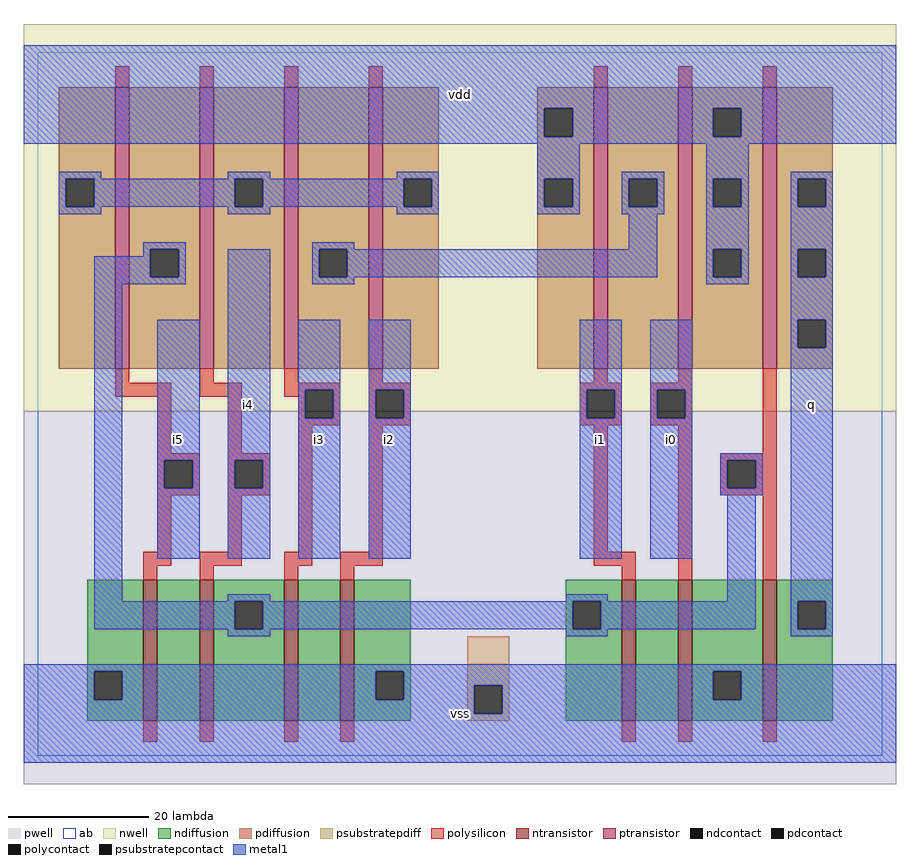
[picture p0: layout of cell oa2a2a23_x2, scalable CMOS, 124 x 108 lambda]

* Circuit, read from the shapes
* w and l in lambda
.subckt oa2a2a23_x2 i0 i1 i2 i3 i4 i5 q vdd vss
M1 n1 i5 vss vss nfet w=20 l=2
M2 n2 i4 n1 vss nfet w=20 l=2
M3 n3 i3 n2 vss nfet w=20 l=2
M4 vss i2 n3 vss nfet w=20 l=2
M5 n4 i1 n2 vss nfet w=20 l=2
M6 vss i0 n4 vss nfet w=20 l=2
M7 q n2 vss vss nfet w=20 l=2
M8 n2 i5 n5 n6 pfet w=40 l=2
M9 n5 i4 n2 n6 pfet w=40 l=2
M10 n7 i3 n5 n6 pfet w=40 l=2
M11 n5 i2 n7 n6 pfet w=40 l=2
M12 n7 i1 vdd n6 pfet w=40 l=2
M13 vdd i0 n7 n6 pfet w=40 l=2
M14 q n2 vdd n6 pfet w=40 l=2
.ends

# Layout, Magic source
magic
tech scmos
<< ab >>
rect 0 0 120 100
<< pwell >>
rect -2 -4 122 49
<< nwell >>
rect -2 49 122 104
<< polysilicon >>
rect 11 95 13 98
rect 23 95 25 98
rect 35 95 37 98
rect 47 95 49 98
rect 79 95 81 98
rect 91 95 93 98
rect 103 95 105 98
rect 11 53 13 55
rect 23 53 25 55
rect 35 53 37 55
rect 47 53 49 55
rect 79 53 81 55
rect 91 53 93 55
rect 11 51 19 53
rect 23 51 29 53
rect 35 52 43 53
rect 35 51 38 52
rect 17 43 19 51
rect 27 43 29 51
rect 37 48 38 51
rect 42 48 43 52
rect 37 47 43 48
rect 47 52 53 53
rect 47 48 48 52
rect 52 48 53 52
rect 47 47 53 48
rect 77 52 83 53
rect 77 48 78 52
rect 82 48 83 52
rect 77 47 83 48
rect 87 52 93 53
rect 87 48 88 52
rect 92 48 93 52
rect 87 47 93 48
rect 17 42 23 43
rect 17 38 18 42
rect 22 38 23 42
rect 17 37 23 38
rect 27 42 33 43
rect 27 38 28 42
rect 32 38 33 42
rect 27 37 33 38
rect 17 29 19 37
rect 27 29 29 37
rect 37 29 39 47
rect 47 29 49 47
rect 15 27 19 29
rect 23 27 29 29
rect 35 27 39 29
rect 43 27 49 29
rect 79 29 81 47
rect 79 27 85 29
rect 15 25 17 27
rect 23 25 25 27
rect 35 25 37 27
rect 43 25 45 27
rect 83 25 85 27
rect 91 25 93 47
rect 103 43 105 55
rect 97 42 105 43
rect 97 38 98 42
rect 102 38 105 42
rect 97 37 105 38
rect 103 25 105 37
rect 15 2 17 5
rect 23 2 25 5
rect 35 2 37 5
rect 43 2 45 5
rect 83 2 85 5
rect 91 2 93 5
rect 103 2 105 5
<< ndiffusion >>
rect 7 12 15 25
rect 7 8 8 12
rect 12 8 15 12
rect 7 5 15 8
rect 17 5 23 25
rect 25 22 35 25
rect 25 18 28 22
rect 32 18 35 22
rect 25 5 35 18
rect 37 5 43 25
rect 45 12 53 25
rect 75 22 83 25
rect 75 18 76 22
rect 80 18 83 22
rect 45 8 48 12
rect 52 8 53 12
rect 45 5 53 8
rect 75 5 83 18
rect 85 5 91 25
rect 93 12 103 25
rect 93 8 96 12
rect 100 8 103 12
rect 93 5 103 8
rect 105 22 113 25
rect 105 18 108 22
rect 112 18 113 22
rect 105 5 113 18
<< pdiffusion >>
rect 3 82 11 95
rect 3 78 4 82
rect 8 78 11 82
rect 3 55 11 78
rect 13 72 23 95
rect 13 68 16 72
rect 20 68 23 72
rect 13 55 23 68
rect 25 82 35 95
rect 25 78 28 82
rect 32 78 35 82
rect 25 55 35 78
rect 37 72 47 95
rect 37 68 40 72
rect 44 68 47 72
rect 37 55 47 68
rect 49 82 57 95
rect 49 78 52 82
rect 56 78 57 82
rect 49 55 57 78
rect 71 92 79 95
rect 71 88 72 92
rect 76 88 79 92
rect 71 82 79 88
rect 71 78 72 82
rect 76 78 79 82
rect 71 55 79 78
rect 81 82 91 95
rect 81 78 84 82
rect 88 78 91 82
rect 81 55 91 78
rect 93 92 103 95
rect 93 88 96 92
rect 100 88 103 92
rect 93 82 103 88
rect 93 78 96 82
rect 100 78 103 82
rect 93 72 103 78
rect 93 68 96 72
rect 100 68 103 72
rect 93 55 103 68
rect 105 82 113 95
rect 105 78 108 82
rect 112 78 113 82
rect 105 72 113 78
rect 105 68 108 72
rect 112 68 113 72
rect 105 62 113 68
rect 105 58 108 62
rect 112 58 113 62
rect 105 55 113 58
<< metal1 >>
rect -2 92 122 101
rect -2 88 72 92
rect 76 88 96 92
rect 100 88 122 92
rect -2 87 122 88
rect 3 82 9 83
rect 27 82 33 83
rect 51 82 57 83
rect 3 78 4 82
rect 8 78 28 82
rect 32 78 52 82
rect 56 78 57 82
rect 3 77 9 78
rect 27 77 33 78
rect 51 77 57 78
rect 71 82 77 87
rect 71 78 72 82
rect 76 78 77 82
rect 71 77 77 78
rect 83 82 89 83
rect 83 78 84 82
rect 88 78 89 82
rect 83 77 89 78
rect 95 82 101 87
rect 95 78 96 82
rect 100 78 101 82
rect 15 72 21 73
rect 39 72 45 73
rect 84 72 88 77
rect 15 71 16 72
rect 8 68 16 71
rect 20 68 21 72
rect 8 67 21 68
rect 8 22 12 67
rect 17 42 23 62
rect 17 38 18 42
rect 22 38 23 42
rect 17 28 23 38
rect 27 42 33 72
rect 39 68 40 72
rect 44 68 88 72
rect 95 72 101 78
rect 95 68 96 72
rect 100 68 101 72
rect 39 67 45 68
rect 95 67 101 68
rect 107 82 113 83
rect 107 78 108 82
rect 112 78 113 82
rect 107 72 113 78
rect 107 68 108 72
rect 112 68 113 72
rect 107 62 113 68
rect 27 38 28 42
rect 32 38 33 42
rect 27 28 33 38
rect 37 52 43 62
rect 37 48 38 52
rect 42 48 43 52
rect 37 28 43 48
rect 47 52 53 62
rect 47 48 48 52
rect 52 48 53 52
rect 47 28 53 48
rect 77 52 83 62
rect 77 48 78 52
rect 82 48 83 52
rect 77 28 83 48
rect 87 52 93 62
rect 87 48 88 52
rect 92 48 93 52
rect 87 28 93 48
rect 107 58 108 62
rect 112 58 113 62
rect 97 42 103 43
rect 97 38 98 42
rect 102 38 103 42
rect 97 37 103 38
rect 27 22 33 23
rect 75 22 81 23
rect 98 22 102 37
rect 8 18 28 22
rect 32 18 76 22
rect 80 18 102 22
rect 107 22 113 58
rect 107 18 108 22
rect 112 18 113 22
rect 27 17 33 18
rect 75 17 81 18
rect 107 17 113 18
rect -2 12 122 13
rect -2 8 8 12
rect 12 8 48 12
rect 52 10 96 12
rect 52 8 62 10
rect -2 6 62 8
rect 66 8 96 10
rect 100 8 122 12
rect 66 6 122 8
rect -2 -1 122 6
<< ntransistor >>
rect 15 5 17 25
rect 23 5 25 25
rect 35 5 37 25
rect 43 5 45 25
rect 83 5 85 25
rect 91 5 93 25
rect 103 5 105 25
<< ptransistor >>
rect 11 55 13 95
rect 23 55 25 95
rect 35 55 37 95
rect 47 55 49 95
rect 79 55 81 95
rect 91 55 93 95
rect 103 55 105 95
<< polycontact >>
rect 38 48 42 52
rect 48 48 52 52
rect 78 48 82 52
rect 88 48 92 52
rect 18 38 22 42
rect 28 38 32 42
rect 98 38 102 42
<< ndcontact >>
rect 8 8 12 12
rect 28 18 32 22
rect 76 18 80 22
rect 48 8 52 12
rect 96 8 100 12
rect 108 18 112 22
<< pdcontact >>
rect 4 78 8 82
rect 16 68 20 72
rect 28 78 32 82
rect 40 68 44 72
rect 52 78 56 82
rect 72 88 76 92
rect 72 78 76 82
rect 84 78 88 82
rect 96 88 100 92
rect 96 78 100 82
rect 96 68 100 72
rect 108 78 112 82
rect 108 68 112 72
rect 108 58 112 62
<< psubstratepcontact >>
rect 62 6 66 10
<< psubstratepdiff >>
rect 61 10 67 17
rect 61 6 62 10
rect 66 6 67 10
rect 61 5 67 6
<< labels >>
rlabel metal1 20 45 20 45 6 i5
rlabel metal1 20 45 20 45 6 i5
rlabel metal1 40 45 40 45 6 i3
rlabel metal1 50 45 50 45 6 i2
rlabel metal1 50 45 50 45 6 i2
rlabel metal1 40 45 40 45 6 i3
rlabel metal1 30 50 30 50 6 i4
rlabel metal1 30 50 30 50 6 i4
rlabel metal1 60 6 60 6 6 vss
rlabel metal1 60 6 60 6 6 vss
rlabel metal1 80 45 80 45 6 i1
rlabel metal1 90 45 90 45 6 i0
rlabel metal1 90 45 90 45 6 i0
rlabel metal1 80 45 80 45 6 i1
rlabel metal1 60 94 60 94 6 vdd
rlabel metal1 60 94 60 94 6 vdd
rlabel metal1 110 50 110 50 6 q
rlabel metal1 110 50 110 50 6 q
<< end >>
